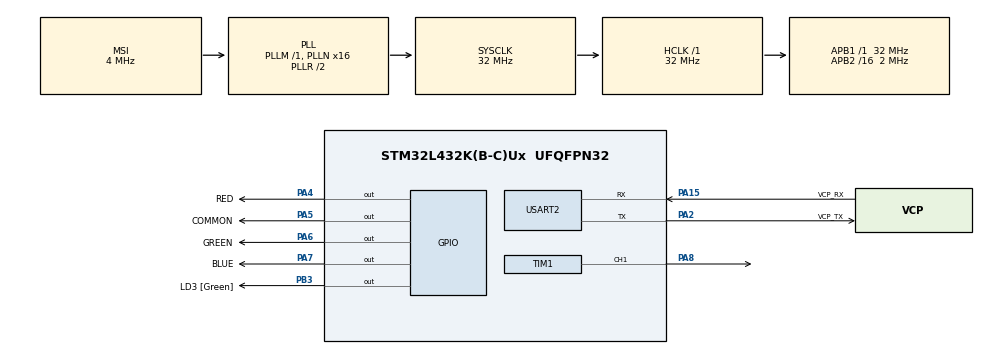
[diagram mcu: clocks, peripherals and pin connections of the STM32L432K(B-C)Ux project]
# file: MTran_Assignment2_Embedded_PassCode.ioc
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Mcu.Family=STM32L4
Mcu.Name=STM32L432K(B-C)Ux
Mcu.Package=UFQFPN32
NVIC.PriorityGroup=NVIC_PRIORITYGROUP_4
PA0.GPIO_Label=MCO [High speed clock in]
PA0.Mode=HSE-External-Clock-Source-for-LittleOrca
PA0.Signal=RCC_CK_IN
PA13\ (JTMS-SWDIO).GPIO_Label=SWDIO
PA13\ (JTMS-SWDIO).Mode=Serial_Wire
PA13\ (JTMS-SWDIO).Signal=SYS_JTMS-SWDIO
PA14\ (JTCK-SWCLK).GPIO_Label=SWCLK
PA14\ (JTCK-SWCLK).Mode=Serial_Wire
PA14\ (JTCK-SWCLK).Signal=SYS_JTCK-SWCLK
PA15\ (JTDI).GPIO_Label=VCP_RX
PA15\ (JTDI).Mode=Asynchronous
PA15\ (JTDI).Signal=USART2_RX
PA2.GPIO_Label=VCP_TX
PA2.Mode=Asynchronous
PA2.Signal=USART2_TX
PA4.GPIO_Label=RED
PA4.Signal=GPIO_Output
PA5.GPIO_Label=COMMON
PA5.Signal=GPIO_Output
PA6.GPIO_Label=GREEN
PA6.Signal=GPIO_Output
PA7.GPIO_Label=BLUE
PA7.Signal=GPIO_Output
PA8.Signal=S_TIM1_CH1
PB3\ (JTDO-TRACESWO).GPIO_Label=LD3 [Green]
PB3\ (JTDO-TRACESWO).Signal=GPIO_Output
PC14-OSC32_IN\ (PC14).Mode=LSE-External-Oscillator
PC14-OSC32_IN\ (PC14).Signal=RCC_OSC32_IN
PC15-OSC32_OUT\ (PC15).Mode=LSE-External-Oscillator
PC15-OSC32_OUT\ (PC15).Signal=RCC_OSC32_OUT
ProjectManager.HeapSize=0x200
ProjectManager.StackSize=0x400
ProjectManager.TargetToolchain=STM32CubeIDE
RCC.AHBFreq_Value=32000000
RCC.APB1Freq_Value=32000000
RCC.APB1TimFreq_Value=32000000
RCC.APB2CLKDivider=RCC_HCLK_DIV16
RCC.APB2Freq_Value=2000000
RCC.APB2TimFreq_Value=4000000
RCC.CortexFreq_Value=32000000
RCC.HCLKFreq_Value=32000000
RCC.HSE_VALUE=8000000
RCC.HSI16_VALUE=16000000
RCC.HSI48_VALUE=48000000
RCC.HSI_VALUE=16000000
RCC.MSI_VALUE=4000000
RCC.PLLMUL=RCC_PLLMUL_4
RCC.PLLN=16
RCC.SYSCLKFreq_VALUE=32000000
RCC.SYSCLKSource=RCC_SYSCLKSOURCE_PLLCLK
RCC.VCOOutputFreq_Value=64000000
SH.S_TIM1_CH1.0=TIM1_CH1,PWM Generation1 CH1
TIM1.Channel-PWM\ Generation1\ CH1=TIM_CHANNEL_1
TIM1.Period=39
TIM1.Prescaler=9
TIM1.Pulse-PWM\ Generation1\ CH1=19
USART2.VirtualMode-Asynchronous=VM_ASYNC
VP_TIM1_VS_ClockSourceINT.Mode=Internal
board=NUCLEO-L432KC

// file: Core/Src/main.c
/* USER CODE BEGIN Header */
/**
  ******************************************************************************
  * @file           : main.c
  * @brief          : Main program body
  ******************************************************************************
  * @attention
  *
  * Copyright (c) 2024 STMicroelectronics.
  * All rights reserved.
  *
  * This software is licensed under terms that can be found in the LICENSE file
  * in the root directory of this software component.
  * If no LICENSE file comes with this software, it is provided AS-IS.
  *
  ******************************************************************************
  */

/*
* FILE : main.c
* PROJECT : Pass Code - Assignment #2
* PROGRAMMER : Minh Quan Tran
* FIRST VERSION : 2024-06-27
* DESCRIPTION : This file is the main code file to operate a Pass Code openning door
*/

/* USER CODE END Header */
#include "main.h"

/* USER CODE BEGIN Includes */
#include <stdio.h>
#include <stdbool.h>
/* USER CODE END Includes */

TIM_HandleTypeDef htim1;

UART_HandleTypeDef huart2;

/* USER CODE BEGIN PV */
uint16_t passCode[10] = {PASSCODE1, PASSCODE2, PASSCODE3, PASSCODE4, PASSCODE5,
						 PASSCODE6, PASSCODE7, PASSCODE8, PASSCODE9, PASSCODE10};
uint16_t uniquePassCode[10] = {UNI_CODE1, UNI_CODE2, UNI_CODE3, UNI_CODE4, UNI_CODE5,
						 	   UNI_CODE6, UNI_CODE7, UNI_CODE8, UNI_CODE9, UNI_CODE10};
char passCodeOwner[10] = {USER1, USER2, USER3, USER4, USER5,
						  USER6, USER7, USER8, USER9, USER10};
bool speakerOff = true;

/* USER CODE END PV */

void SystemClock_Config(void);
static void MX_GPIO_Init(void);
static void MX_USART2_UART_Init(void);
static void MX_TIM1_Init(void);
/* USER CODE BEGIN PFP */
void changeSpeakerFrequency(TIM_HandleTypeDef *htim, uint32_t newFrequency);
void turnOffSpeaker(void);
void playCorrectSound(void);
void playWrongSound(void);
bool checkPassCode(uint16_t usrPassCode);
uint8_t checkOwnerCode(uint16_t usrPassCode);
void setLed(int ledColour);
void resetPassCode(char usrReset);
/* USER CODE END PFP */

/* USER CODE BEGIN 0 */

/* FUNCTION : changeSpeakerFrequency
*
* DESCRIPTION : This function is used to change the timer frequency in order for the speaker
* to have different sound.
* PARAMETERS :
* TIM_HandleTypeDef *htim: Timer
* uint32_t newFrequency:  New desire frequency
*
* RETURNS : void
*/
void changeSpeakerFrequency(TIM_HandleTypeDef *htim, uint32_t newFrequency)
{
	// Calculate new prescaler
	uint32_t timer_clock = 4000000; // ABP Timer Clock is 4MHz
	uint32_t period = 39; // Configured period value
	uint32_t prescaler = (timer_clock / (period + 1)) / newFrequency - 1;

	htim->Instance->ARR = period;
	htim->Instance->PSC = prescaler;

	// Update the timer registers
	__HAL_TIM_SET_COUNTER(htim, 0);
	__HAL_TIM_SET_AUTORELOAD(htim, period);
	__HAL_TIM_SET_PRESCALER(htim, prescaler);

	// Restart the timer PWM generation
	if(speakerOff)
	{
		HAL_TIM_PWM_Start(htim, TIM_CHANNEL_1);
		speakerOff = false;
	}
}

/* FUNCTION : turnOffSpeaker
*
* DESCRIPTION : This function is used to turn off the speaker
* PARAMETERS : void
*
* RETURNS : void
*/
void turnOffSpeaker(void)
{
	speakerOff = true;
	HAL_TIM_PWM_Stop(&htim1, TIM_CHANNEL_1);
}

/* FUNCTION : playCorrectSound
*
* DESCRIPTION : This function used the changeSpeakerFrequency and turnOffSpeaker function to
*  create a tune for the speaker.
*
* PARAMETERS : void
*
* RETURNS : void
*/
void playCorrectSound(void)
{
	changeSpeakerFrequency(&htim1, 200);
	HAL_Delay(200);
	turnOffSpeaker();
	changeSpeakerFrequency(&htim1, 500);
	HAL_Delay(200);
	turnOffSpeaker();
	changeSpeakerFrequency(&htim1, 800);
	HAL_Delay(200);

	// Turn off sound
	turnOffSpeaker();
}

/* FUNCTION : playWrongSound
*
* DESCRIPTION : This function used the changeSpeakerFrequency and turnOffSpeaker function to
*  create a tune for the speaker.
*
* PARAMETERS : void
*
* RETURNS : void
*/
void playWrongSound(void)
{
	changeSpeakerFrequency(&htim1, 800);
	HAL_Delay(200);
	turnOffSpeaker();
	changeSpeakerFrequency(&htim1, 500);
	HAL_Delay(200);
	turnOffSpeaker();
	changeSpeakerFrequency(&htim1, 200);
	HAL_Delay(200);

	// Turn off sound
	turnOffSpeaker();
}

/* FUNCTION : checkPassCode
*
* DESCRIPTION : This function compare with user pass code and the real passcode.
*
* PARAMETERS :
* uint16_t usrPassCode: user input pass code
*
* RETURNS : bool
*/
bool checkPassCode(uint16_t usrPassCode)
{
	for (int i = 0; i < NUM_PASSCODE; i++)
	{
		if (usrPassCode == passCode[i] || usrPassCode == uniquePassCode[i])
		{
			return true;
		}
	}
	return false;
}

/* FUNCTION : checkOwnerCode
*
* DESCRIPTION : This function compare with user pass code and the real passcode and
* find out who is the owner of that passcode.
*
* PARAMETERS :
* uint16_t usrPassCode: user input pass code
*
* RETURNS : uint8_t
*/
uint8_t checkOwnerCode(uint16_t usrPassCode)
{
	for (int i = 0; i < NUM_PASSCODE; i++)
	{
		if (usrPassCode == passCode[i] || usrPassCode == uniquePassCode[i])
		{
			return i;
		}
	}
	return 10;
}

/* FUNCTION : setLed
*
* DESCRIPTION : This function change the RGB Led colour
*
* PARAMETERS :
* int ledColour: Led colour
*
* RETURNS : void
*/
void setLed(int ledColour)
{
	switch(ledColour)
	{
	case RED:
		HAL_GPIO_WritePin(GPIOA, GPIO_PIN_4, GPIO_PIN_SET);
		HAL_GPIO_WritePin(GPIOA, GPIO_PIN_5, GPIO_PIN_RESET);
		HAL_GPIO_WritePin(GPIOA, GPIO_PIN_6, GPIO_PIN_RESET);
		HAL_GPIO_WritePin(GPIOA, GPIO_PIN_7, GPIO_PIN_RESET);
		break;
	case GREEN:
		HAL_GPIO_WritePin(GPIOA, GPIO_PIN_4, GPIO_PIN_RESET);
		HAL_GPIO_WritePin(GPIOA, GPIO_PIN_5, GPIO_PIN_RESET);
		HAL_GPIO_WritePin(GPIOA, GPIO_PIN_6, GPIO_PIN_RESET);
		HAL_GPIO_WritePin(GPIOA, GPIO_PIN_7, GPIO_PIN_SET);
		break;
	case WHITE:
		HAL_GPIO_WritePin(GPIOA, GPIO_PIN_4, GPIO_PIN_SET);
		HAL_GPIO_WritePin(GPIOA, GPIO_PIN_5, GPIO_PIN_RESET);
		HAL_GPIO_WritePin(GPIOA, GPIO_PIN_6, GPIO_PIN_SET);
		HAL_GPIO_WritePin(GPIOA, GPIO_PIN_7, GPIO_PIN_SET);
		break;
	}

}

/* FUNCTION : resetPassCode
*
* DESCRIPTION : This function used to reset the user pass code from the user UNIQUE
* PASSCODE
*
* PARAMETERS :
* char usrReset: User choice to reset or not
*
* RETURNS : void
*/
void resetPassCode(char usrReset)
{
	int usrUniqueCode, usrNewCode, ownerCodeName = 0;
	int numberAttemptLeft = 0;

	if (usrReset == 'y')
	{
		for (int i = NUM_ATTEMPT; i > 0; i--)
			{
				printf("Please type in your UNIQUE passcode: \r\n");
				scanf("%d", &usrUniqueCode);
				if (checkPassCode(usrUniqueCode) == USERCODE_MATCH)
				{
					printf("Access Granted\r\n");
					setLed(GREEN);
					playCorrectSound();
					numberAttemptLeft = 3;
					break;
				}
				else
				{
					printf("Access Denied\r\n");
					printf("You have %d attempt left \r\n", i - 1);
					setLed(RED);
					playWrongSound();
					numberAttemptLeft = i - 1;
					continue;
				}
			}

		// Zero attempt left for resetting pass code
		if (numberAttemptLeft == 0)
		{
			printf("Please contact the owner for further assist\r\n");
			printf("~~~~~~~~~~~~~~~\r\n");
			return;
		}

		// Resetting user passcode
		else
		{
			ownerCodeName = checkOwnerCode(usrUniqueCode); //Get Owner Name
			printf("Welcome Mrs %c\r\n", passCodeOwner[ownerCodeName]);
			printf("Please type in your new code\r\n");
			scanf("%d",&usrNewCode);
			passCode[ownerCodeName] = usrNewCode;
			printf("Your new passcode have been saved, please log in again\r\n");
			printf("~~~~~~~~~~~~~~~\r\n");
			return;
		}
	}
	else
	{
		printf("~~~~~~~~~~~~~~~\r\n");
		return;
	}
}
/* USER CODE END 0 */

int main(void)
{

  /* USER CODE BEGIN 1 */
	uint16_t userCode = 0;
	uint8_t numberAttemptLeft = 0;
	char usrReset;
  /* USER CODE END 1 */

  /* MCU Configuration--------------------------------------------------------*/

  /* Reset of all peripherals, Initializes the Flash interface and the Systick. */
  HAL_Init();

  /* Configure the system clock */
  SystemClock_Config();

  /* Initialize all configured peripherals */
  MX_GPIO_Init();
  MX_USART2_UART_Init();
  MX_TIM1_Init();
  /* USER CODE BEGIN 2 */
  HAL_TIM_PWM_Start(&htim1, TIM_CHANNEL_1);
  turnOffSpeaker();
  /* USER CODE END 2 */

  /* Infinite loop */
  /* USER CODE BEGIN WHILE */
  while (1)
  {
	  // Give user 3 attempts to type in their passcode
	  for (int i = NUM_ATTEMPT; i > 0; i--)
		{
			  printf("Please type in your passcode: \r\n");
			  scanf("%hu", &userCode);

			  // When user pass code match with the system
			  if (checkPassCode(userCode) == USERCODE_MATCH)
			  {
				  printf("Access Granted\r\n");
				  setLed(GREEN);
				  playCorrectSound();
				  numberAttemptLeft = 3;
				  break;
			  }

			  // When user pass code doesn't match with the system
			  else
			  {
				  printf("Access Denied\r\n");
				  printf("You have %d attempt left \r\n", i - 1);
				  setLed(RED);
				  playWrongSound();
				  numberAttemptLeft = i - 1;
				  continue;
			  }
		}

		// Reset Pass Code
		if (numberAttemptLeft == 0)
		{
			do
			{
				printf("Do you want to reset your passcode? (Type y or n): \r\n");
				scanf("%c",&usrReset);
				printf("%c\r\n",usrReset);
				if (usrReset != 'y' && usrReset != 'n')
				{
					printf("Please type again\r\n");
				}
			}
			while(usrReset != 'y' && usrReset != 'n');

			//Resetting user code
			resetPassCode(usrReset);
		}
		else
		{
			printf("~~~~~~~~~~~~~~~\r\n");
		}
    /* USER CODE END WHILE */

  }
}

void SystemClock_Config(void)
{
  RCC_OscInitTypeDef RCC_OscInitStruct = {0};
  RCC_ClkInitTypeDef RCC_ClkInitStruct = {0};

  /** Configure the main internal regulator output voltage
  */
  if (HAL_PWREx_ControlVoltageScaling(PWR_REGULATOR_VOLTAGE_SCALE1) != HAL_OK)
  {
    Error_Handler();
  }

  /** Configure LSE Drive Capability
  */
  HAL_PWR_EnableBkUpAccess();
  __HAL_RCC_LSEDRIVE_CONFIG(RCC_LSEDRIVE_LOW);

  /** Initializes the RCC Oscillators according to the specified parameters
  * in the RCC_OscInitTypeDef structure.
  */
  RCC_OscInitStruct.OscillatorType = RCC_OSCILLATORTYPE_LSE|RCC_OSCILLATORTYPE_MSI;
  RCC_OscInitStruct.LSEState = RCC_LSE_ON;
  RCC_OscInitStruct.MSIState = RCC_MSI_ON;
  RCC_OscInitStruct.MSICalibrationValue = 0;
  RCC_OscInitStruct.MSIClockRange = RCC_MSIRANGE_6;
  RCC_OscInitStruct.PLL.PLLState = RCC_PLL_ON;
  RCC_OscInitStruct.PLL.PLLSource = RCC_PLLSOURCE_MSI;
  RCC_OscInitStruct.PLL.PLLM = 1;
  RCC_OscInitStruct.PLL.PLLN = 16;
  RCC_OscInitStruct.PLL.PLLP = RCC_PLLP_DIV7;
  RCC_OscInitStruct.PLL.PLLQ = RCC_PLLQ_DIV2;
  RCC_OscInitStruct.PLL.PLLR = RCC_PLLR_DIV2;
  if (HAL_RCC_OscConfig(&RCC_OscInitStruct) != HAL_OK)
  {
    Error_Handler();
  }

  /** Initializes the CPU, AHB and APB buses clocks
  */
  RCC_ClkInitStruct.ClockType = RCC_CLOCKTYPE_HCLK|RCC_CLOCKTYPE_SYSCLK
                              |RCC_CLOCKTYPE_PCLK1|RCC_CLOCKTYPE_PCLK2;
  RCC_ClkInitStruct.SYSCLKSource = RCC_SYSCLKSOURCE_PLLCLK;
  RCC_ClkInitStruct.AHBCLKDivider = RCC_SYSCLK_DIV1;
  RCC_ClkInitStruct.APB1CLKDivider = RCC_HCLK_DIV1;
  RCC_ClkInitStruct.APB2CLKDivider = RCC_HCLK_DIV16;

  if (HAL_RCC_ClockConfig(&RCC_ClkInitStruct, FLASH_LATENCY_1) != HAL_OK)
  {
    Error_Handler();
  }

  /** Enable MSI Auto calibration
  */
  HAL_RCCEx_EnableMSIPLLMode();
}

static void MX_TIM1_Init(void)
{

  TIM_ClockConfigTypeDef sClockSourceConfig = {0};
  TIM_MasterConfigTypeDef sMasterConfig = {0};
  TIM_OC_InitTypeDef sConfigOC = {0};
  TIM_BreakDeadTimeConfigTypeDef sBreakDeadTimeConfig = {0};

  htim1.Instance = TIM1;
  htim1.Init.Prescaler = 9;
  htim1.Init.CounterMode = TIM_COUNTERMODE_UP;
  htim1.Init.Period = 39;
  htim1.Init.ClockDivision = TIM_CLOCKDIVISION_DIV1;
  htim1.Init.RepetitionCounter = 0;
  htim1.Init.AutoReloadPreload = TIM_AUTORELOAD_PRELOAD_DISABLE;
  if (HAL_TIM_Base_Init(&htim1) != HAL_OK)
  {
    Error_Handler();
  }
  sClockSourceConfig.ClockSource = TIM_CLOCKSOURCE_INTERNAL;
  if (HAL_TIM_ConfigClockSource(&htim1, &sClockSourceConfig) != HAL_OK)
  {
    Error_Handler();
  }
  if (HAL_TIM_PWM_Init(&htim1) != HAL_OK)
  {
    Error_Handler();
  }
  sMasterConfig.MasterOutputTrigger = TIM_TRGO_RESET;
  sMasterConfig.MasterOutputTrigger2 = TIM_TRGO2_RESET;
  sMasterConfig.MasterSlaveMode = TIM_MASTERSLAVEMODE_DISABLE;
  if (HAL_TIMEx_MasterConfigSynchronization(&htim1, &sMasterConfig) != HAL_OK)
  {
    Error_Handler();
  }
  sConfigOC.OCMode = TIM_OCMODE_PWM1;
  sConfigOC.Pulse = 19;
  sConfigOC.OCPolarity = TIM_OCPOLARITY_HIGH;
  sConfigOC.OCNPolarity = TIM_OCNPOLARITY_HIGH;
  sConfigOC.OCFastMode = TIM_OCFAST_DISABLE;
  sConfigOC.OCIdleState = TIM_OCIDLESTATE_RESET;
  sConfigOC.OCNIdleState = TIM_OCNIDLESTATE_RESET;
  if (HAL_TIM_PWM_ConfigChannel(&htim1, &sConfigOC, TIM_CHANNEL_1) != HAL_OK)
  {
    Error_Handler();
  }
  sBreakDeadTimeConfig.OffStateRunMode = TIM_OSSR_DISABLE;
  sBreakDeadTimeConfig.OffStateIDLEMode = TIM_OSSI_DISABLE;
  sBreakDeadTimeConfig.LockLevel = TIM_LOCKLEVEL_OFF;
  sBreakDeadTimeConfig.DeadTime = 0;
  sBreakDeadTimeConfig.BreakState = TIM_BREAK_DISABLE;
  sBreakDeadTimeConfig.BreakPolarity = TIM_BREAKPOLARITY_HIGH;
  sBreakDeadTimeConfig.BreakFilter = 0;
  sBreakDeadTimeConfig.Break2State = TIM_BREAK2_DISABLE;
  sBreakDeadTimeConfig.Break2Polarity = TIM_BREAK2POLARITY_HIGH;
  sBreakDeadTimeConfig.Break2Filter = 0;
  sBreakDeadTimeConfig.AutomaticOutput = TIM_AUTOMATICOUTPUT_DISABLE;
  if (HAL_TIMEx_ConfigBreakDeadTime(&htim1, &sBreakDeadTimeConfig) != HAL_OK)
  {
    Error_Handler();
  }
  HAL_TIM_MspPostInit(&htim1);

}

static void MX_USART2_UART_Init(void)
{

  huart2.Instance = USART2;
  huart2.Init.BaudRate = 115200;
  huart2.Init.WordLength = UART_WORDLENGTH_8B;
  huart2.Init.StopBits = UART_STOPBITS_1;
  huart2.Init.Parity = UART_PARITY_NONE;
  huart2.Init.Mode = UART_MODE_TX_RX;
  huart2.Init.HwFlowCtl = UART_HWCONTROL_NONE;
  huart2.Init.OverSampling = UART_OVERSAMPLING_16;
  huart2.Init.OneBitSampling = UART_ONE_BIT_SAMPLE_DISABLE;
  huart2.AdvancedInit.AdvFeatureInit = UART_ADVFEATURE_NO_INIT;
  if (HAL_UART_Init(&huart2) != HAL_OK)
  {
    Error_Handler();
  }

}

static void MX_GPIO_Init(void)
{
  GPIO_InitTypeDef GPIO_InitStruct = {0};

  /* GPIO Ports Clock Enable */
  __HAL_RCC_GPIOC_CLK_ENABLE();
  __HAL_RCC_GPIOA_CLK_ENABLE();
  __HAL_RCC_GPIOB_CLK_ENABLE();

  /*Configure GPIO pin Output Level */
  HAL_GPIO_WritePin(GPIOA, RED_Pin|COMMON_Pin|GREEN_Pin|BLUE_Pin, GPIO_PIN_RESET);

  /*Configure GPIO pin Output Level */
  HAL_GPIO_WritePin(LD3_GPIO_Port, LD3_Pin, GPIO_PIN_RESET);

  /*Configure GPIO pins : RED_Pin COMMON_Pin GREEN_Pin BLUE_Pin */
  GPIO_InitStruct.Pin = RED_Pin|COMMON_Pin|GREEN_Pin|BLUE_Pin;
  GPIO_InitStruct.Mode = GPIO_MODE_OUTPUT_PP;
  GPIO_InitStruct.Pull = GPIO_NOPULL;
  GPIO_InitStruct.Speed = GPIO_SPEED_FREQ_LOW;
  HAL_GPIO_Init(GPIOA, &GPIO_InitStruct);

  /*Configure GPIO pin : LD3_Pin */
  GPIO_InitStruct.Pin = LD3_Pin;
  GPIO_InitStruct.Mode = GPIO_MODE_OUTPUT_PP;
  GPIO_InitStruct.Pull = GPIO_NOPULL;
  GPIO_InitStruct.Speed = GPIO_SPEED_FREQ_LOW;
  HAL_GPIO_Init(LD3_GPIO_Port, &GPIO_InitStruct);

}

void Error_Handler(void)
{
  __disable_irq();
  while (1)
  {
  }
}
